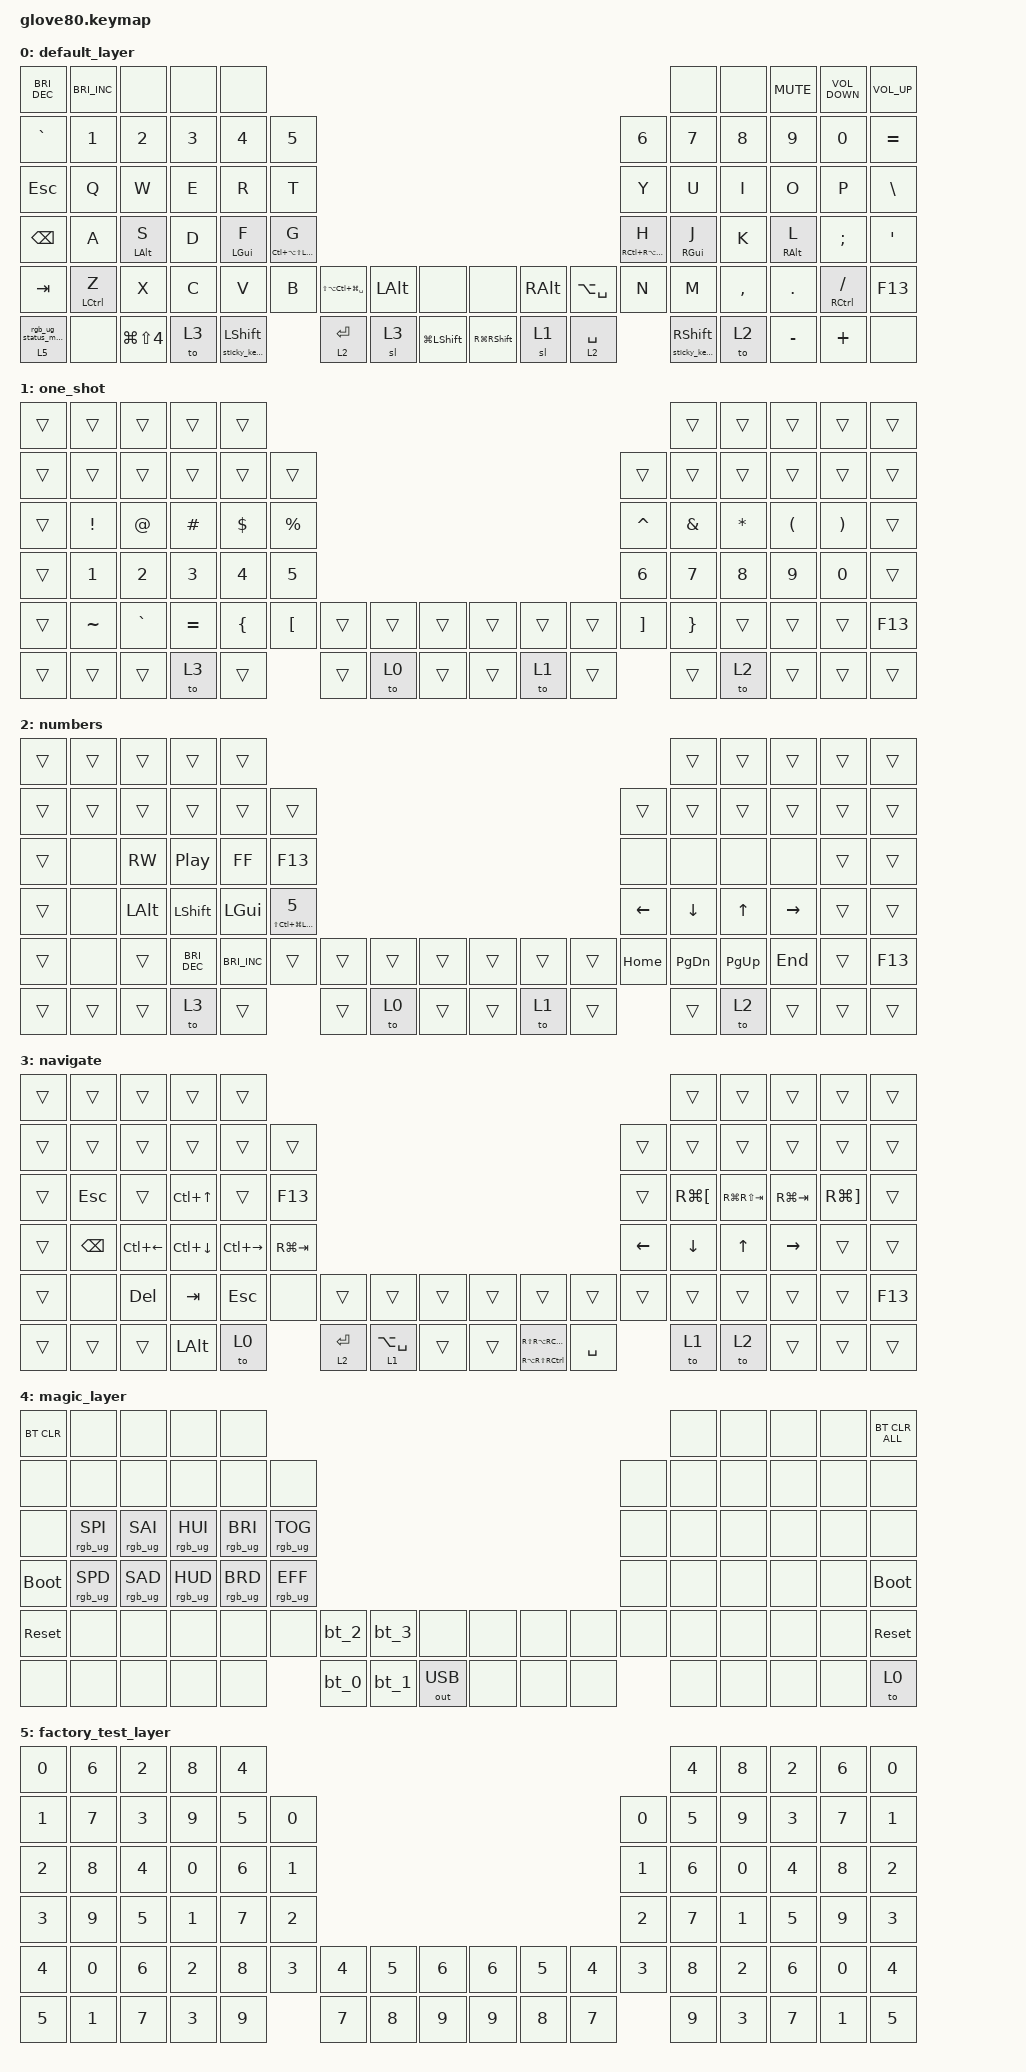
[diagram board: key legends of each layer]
/*
 * Copyright (c) 2020 The ZMK Contributors
 *
 * SPDX-License-Identifier: MIT
 */

#include <behaviors.dtsi>
#include <dt-bindings/zmk/bt.h>
#include <dt-bindings/zmk/keys.h>
#include <dt-bindings/zmk/outputs.h>
#include <dt-bindings/zmk/rgb.h>

#define HYPER LC(LS(LG(LALT)))

// layers

#define DEFAULT 0
#define LOWER 1
#define MAGIC 2
#define FACTORY_TEST 3

/ {
    behaviors {
        // For the "layer" key, it'd nice to be able to use it as either a shift or a toggle.
        // Configure it as a tap dance, so the first tap (or hold) is a &mo and the second tap is a &to

        layer_td: tap_dance_0 {
            compatible = "zmk,behavior-tap-dance";
            label = "LAYER_TAP_DANCE";
            #binding-cells = <0>;
            tapping-term-ms = <200>;
            bindings = <&mo 1>, <&to 1>;
        };

        magic: magic_hold_tap {
            compatible = "zmk,behavior-hold-tap";
            label = "MAGIC_HOLD_TAP";
            #binding-cells = <2>;
            flavor = "tap-preferred";
            tapping-term-ms = <200>;
            bindings = <&mo>, <&rgb_ug_status_macro>;
        };

        hm_right_index: hm_right_index {
            compatible = "zmk,behavior-hold-tap";
            label = "HM_RIGHT_INDEX";
            bindings = <&kp>, <&kp>;

            #binding-cells = <2>;
            tapping-term-ms = <300>;
            quick-tap-ms = <300>;
            require-prior-idle-ms = <100>;
            flavor = "tap-preferred";
            hold-trigger-key-positions = <0 1 2 3 4 10 11 12 13 14 15 22 23 24 25 26 27 34 35 36 37 38 39 46 47 48 49 50 51 52 53 54 64 65 66 67 68 69 70 71 55 56 57 72 73 74>;
            hold-trigger-on-release;
        };

        hm_left_index: hm_left_index {
            compatible = "zmk,behavior-hold-tap";
            label = "HM_LEFT_INDEX";
            bindings = <&kp>, <&kp>;

            #binding-cells = <2>;
            tapping-term-ms = <300>;
            quick-tap-ms = <300>;
            require-prior-idle-ms = <100>;
            flavor = "tap-preferred";
            hold-trigger-key-positions = <5 6 7 8 9 16 17 18 19 20 21 28 29 30 31 32 33 40 41 42 43 44 45 55 56 57 58 59 60 61 62 63 72 73 74 75 76 77 78 79 52 53 54 69 70 71>;
            hold-trigger-on-release;
        };

        hm_right_middle: hm_right_middle {
            compatible = "zmk,behavior-hold-tap";
            label = "HM_RIGHT_MIDDLE";
            bindings = <&kp>, <&kp>;

            #binding-cells = <2>;
            tapping-term-ms = <210>;
            quick-tap-ms = <300>;
            require-prior-idle-ms = <150>;
            flavor = "tap-preferred";
            hold-trigger-key-positions = <0 1 2 3 4 10 11 12 13 14 15 22 23 24 25 26 27 34 35 36 37 38 39 46 47 48 49 50 51 52 53 54 64 65 66 67 68 69 70 71 55 56 57 72 73 55 56 57 72 73 74>;
            hold-trigger-on-release;
        };

        hm_left_middle: hm_left_middle {
            compatible = "zmk,behavior-hold-tap";
            label = "HM_LEFT_MIDDLE";
            bindings = <&kp>, <&kp>;

            #binding-cells = <2>;
            tapping-term-ms = <210>;
            quick-tap-ms = <300>;
            require-prior-idle-ms = <150>;
            flavor = "tap-preferred";
            hold-trigger-key-positions = <5 6 7 8 9 16 17 18 19 20 21 28 29 30 31 32 33 40 41 42 43 44 45 55 56 57 58 59 60 61 62 63 72 73 74 75 76 77 78 79 52 53 54 69 70 71>;
            hold-trigger-on-release;
        };

        hm_right_ring: hm_right_ring {
            compatible = "zmk,behavior-hold-tap";
            label = "HM_RIGHT_RING";
            bindings = <&kp>, <&kp>;

            #binding-cells = <2>;
            tapping-term-ms = <400>;
            quick-tap-ms = <300>;
            require-prior-idle-ms = <150>;
            flavor = "tap-preferred";
            hold-trigger-key-positions = <0 1 2 3 4 10 11 12 13 14 15 22 23 24 25 26 27 34 35 36 37 38 39 46 47 48 49 50 51 52 53 54 64 65 66 67 68 69 70 71 55 56 57 72 73 74>;
            hold-trigger-on-release;
        };

        hm_left_ring: hm_left_ring {
            compatible = "zmk,behavior-hold-tap";
            label = "HM_LEFT_RING";
            bindings = <&kp>, <&kp>;

            #binding-cells = <2>;
            tapping-term-ms = <400>;
            quick-tap-ms = <300>;
            require-prior-idle-ms = <150>;
            flavor = "tap-preferred";
            hold-trigger-key-positions = <5 6 7 8 9 16 17 18 19 20 21 28 29 30 31 32 33 40 41 42 43 44 45 55 56 57 58 59 60 61 62 63 72 73 74 75 76 77 78 79 52 53 54 69 70 71>;
            hold-trigger-on-release;
        };

        hm_right_pinky: hm_right_pinky {
            compatible = "zmk,behavior-hold-tap";
            label = "HM_RIGHT_PINKY";
            bindings = <&kp>, <&kp>;

            #binding-cells = <2>;
            tapping-term-ms = <260>;
            quick-tap-ms = <300>;
            require-prior-idle-ms = <150>;
            flavor = "tap-preferred";
            hold-trigger-key-positions = <0 1 2 3 4 10 11 12 13 14 15 22 23 24 25 26 27 34 35 36 37 38 39 46 47 48 49 50 51 52 53 54 64 65 66 67 68 69 70 71 55 56 57 72 73 74>;
            hold-trigger-on-release;
        };

        hm_left_pinky: hm_left_pinky {
            compatible = "zmk,behavior-hold-tap";
            label = "HM_LEFT_PINKY";
            bindings = <&kp>, <&kp>;

            #binding-cells = <2>;
            tapping-term-ms = <260>;
            quick-tap-ms = <300>;
            require-prior-idle-ms = <150>;
            flavor = "tap-preferred";
            hold-trigger-key-positions = <5 6 7 8 9 16 17 18 19 20 21 28 29 30 31 32 33 40 41 42 43 44 45 55 56 57 58 59 60 61 62 63 72 73 74 75 76 77 78 79 52 53 54 69 70 71>;
            hold-trigger-on-release;
        };

        hyper_right: hyper_right {
            compatible = "zmk,behavior-hold-tap";
            label = "HYPER_RIGHT";
            bindings = <&kp>, <&kp>;

            #binding-cells = <2>;
            tapping-term-ms = <200>;
            quick-tap-ms = <300>;
            require-prior-idle-ms = <100>;
            flavor = "tap-preferred";
            hold-trigger-key-positions = <0 1 2 3 4 10 11 12 13 14 15 22 23 24 25 26 27 34 35 36 37 38 39 46 47 48 49 50 51 52 53 54 55 56 64 65 66 67 68 69 70 71 72 55 56 57 72 73 74>;
            hold-trigger-on-release;
        };

        hyper_left: hyper_left {
            compatible = "zmk,behavior-hold-tap";
            label = "HYPER_LEFT";
            bindings = <&kp>, <&kp>;

            #binding-cells = <2>;
            tapping-term-ms = <200>;
            quick-tap-ms = <300>;
            require-prior-idle-ms = <100>;
            flavor = "tap-preferred";
            hold-trigger-on-release;
            hold-trigger-key-positions = <0 1 2 3 4 10 11 12 13 14 15 22 23 24 25 26 27 34 35 36 37 38 39 46 47 48 49 50 51 52 53 54 55 56 64 65 66 67 68 69 70 71 72 55 56 57 72 73 74>;
        };

        layer_on_hold: layer_on_hold {
            compatible = "zmk,behavior-hold-tap";
            label = "LAYER_ON_HOLD";
            bindings = <&sl>, <&kp>;

            #binding-cells = <2>;
            tapping-term-ms = <200>;
            quick-tap-ms = <300>;
            require-prior-idle-ms = <150>;
            flavor = "tap-preferred";
            hold-trigger-on-release;
            hold-trigger-key-positions = <5 6 7 8 9 16 17 18 19 20 21 28 29 30 31 32 33 40 41 42 43 44 45 55 56 57 58 59 60 61 62 63 72 73 74 75 76 77 78 79 52 53 54 69 70 71>;
        };

        enter_or_capsword: enter_or_capsword {
            compatible = "zmk,behavior-mod-morph";
            label = "ENTER_OR_CAPSWORD";
            bindings = <&kp ENTER>, <&caps_word>;

            #binding-cells = <0>;
            mods = <(MOD_LSFT|MOD_RSFT)>;
        };

        backspace_or_delete: backspace_or_delete {
            compatible = "zmk,behavior-mod-morph";
            label = "BACKSPACE_OR_DELETE";
            bindings = <&kp BACKSPACE>, <&kp DELETE>;

            #binding-cells = <0>;
            mods = <(MOD_RSFT)>;
        };

        sticky_key_quick_release: sticky_key_quick_release {
            compatible = "zmk,behavior-sticky-key";
            label = "STICKY_KEY_QUICK_RELEASE";
            bindings = <&sk>;
            #binding-cells = <1>;
            quick-release;
            release-after-ms = <100>;
            ignore-modifiers;
        };
    };

    macros {
        rgb_ug_status_macro: rgb_ug_status_macro_0 {
            label = "RGB_UG_STATUS";
            compatible = "zmk,behavior-macro";
            #binding-cells = <0>;
            bindings = <&rgb_ug RGB_STATUS>;
        };

        bt_0: bt_profile_macro_0 {
            label = "BT_0";
            compatible = "zmk,behavior-macro";
            #binding-cells = <0>;
            bindings = <&out OUT_BLE &bt BT_SEL 0>;
        };

        bt_1: bt_profile_macro_1 {
            label = "BT_1";
            compatible = "zmk,behavior-macro";
            #binding-cells = <0>;
            bindings = <&out OUT_BLE &bt BT_SEL 1>;
        };

        bt_2: bt_profile_macro_2 {
            label = "BT_2";
            compatible = "zmk,behavior-macro";
            #binding-cells = <0>;
            bindings = <&out OUT_BLE &bt BT_SEL 2>;
        };

        bt_3: bt_profile_macro_3 {
            label = "BT_3";
            compatible = "zmk,behavior-macro";
            #binding-cells = <0>;
            bindings = <&out OUT_BLE &bt BT_SEL 3>;
        };
    };

    combos {
        compatible = "zmk,combos";

        combo_copy {
            bindings = <&kp LG(C)>;
            key-positions = <49 50>;
            layers = <0>;
        };

        combo_paste {
            bindings = <&kp LG(V)>;
            key-positions = <51 50>;
            layers = <0>;
        };

        combo_undo {
            bindings = <&kp LG(Z)>;
            key-positions = <47 48>;
            layers = <0>;
        };

        combo_cut {
            bindings = <&kp LG(X)>;
            key-positions = <48 49>;
            layers = <0>;
        };

        combo_left_shift {
            bindings = <&sticky_key_quick_release LEFT_SHIFT>;
            key-positions = <36 37>;
            layers = <0 2 1 3>;
        };

        combo_right_shift {
            bindings = <&sticky_key_quick_release RIGHT_SHIFT>;
            key-positions = <42 43>;
            layers = <0 2 1 3>;
        };

        combo_hyphen {
            bindings = <&kp MINUS>;
            key-positions = <60 61>;
            layers = <0>;
        };

        combo_equals {
            bindings = <&kp EQUAL>;
            key-positions = <28 29>;
            layers = <0>;
        };
    };

    keymap {
        compatible = "zmk,keymap";

        default_layer {
            // ---------------------------------------------------------------------------------------------------------------------------------
            // |  F1   |  F2 |  F3 |  F4  |  F5  |                                                               |  F6   |  F7   |  F8  |   F9  |  F10 |
            // |  =    |  1  |  2  |  3   |  4   |  5   |                                                 |  6   |   7   |   8   |  9   |   0   |   -  |
            // |  TAB  |  Q  |  W  |  E   |  R   |  T   |                                                 |  Y   |   U   |   I   |  O   |   P   |   \  |
            // |  ESC  |  A  |  S  |  D   |  F   |  G   |                                                 |  H   |   J   |   K   |  L   |   ;   |   '  |
            // |   `   |  Z  |  X  |  C   |  V   |  B   | LSHFT | LCTRL | LOWER | | LGUI  | RCTRL | RSHFT |  N   |   M   |   ,   |  .   |   /   | PGUP |
            // | MAGIC | HOME| END | LEFT | RIGHT|      | BSPC  | DEL   | LALT  | | RALT  | RET   | SPACE |      |  UP   | DOWN  |  [   |   ]   | PGDN |

            bindings = <
&kp C_BRIGHTNESS_DEC  &kp C_BRIGHTNESS_INC           &none                     &none         &none                                                                                                                                                                                                                                    &none                                  &none         &kp C_MUTE                  &kp C_VOLUME_DOWN                   &kp C_VOLUME_UP
&kp GRAVE             &kp NUMBER_1                   &kp NUMBER_2              &kp NUMBER_3  &kp NUMBER_4                          &kp NUMBER_5                                                                                                                                                 &kp NUMBER_6                          &kp NUMBER_7                           &kp NUMBER_8  &kp NUMBER_9                &kp NUMBER_0                        &kp EQUAL
&kp ESC               &kp Q                          &kp W                     &kp E         &kp R                                 &kp T                                                                                                                                                        &kp Y                                 &kp U                                  &kp I         &kp O                       &kp P                               &kp BACKSLASH
&kp BACKSPACE         &kp A                          &hm_left_ring LEFT_ALT S  &kp D         &hm_left_index LGUI F                 &hyper_left LC(LA(LS(LEFT_GUI))) G                                                                                                                           &hyper_right RC(RA(RS(RIGHT_GUI))) H  &hm_right_index RIGHT_GUI J            &kp K         &hm_right_ring RIGHT_ALT L  &kp SEMICOLON                       &kp APOSTROPHE
&kp TAB               &hm_left_pinky LEFT_CONTROL Z  &kp X                     &kp C         &kp V                                 &kp B                               &kp LS(LA(LC(LG(SPACE))))  &kp LEFT_ALT  &none               &none                &kp RIGHT_ALT  &kp LA(SPACE)           &kp N                                 &kp M                                  &kp COMMA     &kp DOT                     &hm_right_pinky RIGHT_CONTROL FSLH  &kp F13
&magic 5 0            &none                          &kp LG(LS(NUMBER_4))      &to 3         &sticky_key_quick_release LEFT_SHIFT                                      &layer_on_hold 2 ENTER     &sl 3         &kp LG(LEFT_SHIFT)  &kp RG(RIGHT_SHIFT)  &sl 1          &layer_on_hold 2 SPACE                                        &sticky_key_quick_release RIGHT_SHIFT  &to 2         &kp MINUS                   &kp PLUS                            &none
            >;
        };

        one_shot {
            bindings = <
&trans  &trans           &trans        &trans        &trans                                                                                               &trans           &trans        &trans                &trans                 &trans
&trans  &trans           &trans        &trans        &trans          &trans                                                            &trans             &trans           &trans        &trans                &trans                 &trans
&trans  &kp EXCLAMATION  &kp AT_SIGN   &kp HASH      &kp DOLLAR      &kp PERCENT                                                       &kp CARET          &kp AMPERSAND    &kp ASTERISK  &kp LEFT_PARENTHESIS  &kp RIGHT_PARENTHESIS  &trans
&trans  &kp NUMBER_1     &kp NUMBER_2  &kp NUMBER_3  &kp NUMBER_4    &kp NUMBER_5                                                      &kp NUMBER_6       &kp NUMBER_7     &kp NUMBER_8  &kp NUMBER_9          &kp NUMBER_0           &trans
&trans  &kp TILDE        &kp GRAVE     &kp EQUAL     &kp LEFT_BRACE  &kp LEFT_BRACKET  &trans  &trans  &trans  &trans  &trans  &trans  &kp RIGHT_BRACKET  &kp RIGHT_BRACE  &trans        &trans                &trans                 &kp F13
&trans  &trans           &trans        &to 3         &trans                            &trans  &to 0   &trans  &trans  &to 1   &trans                     &trans           &to 2         &trans                &trans                 &trans
            >;
        };

        numbers {
            bindings = <
&trans  &trans  &trans        &trans            &trans                                                                                                              &trans          &trans        &trans           &trans  &trans
&trans  &trans  &trans        &trans            &trans         &trans                                                                               &trans          &trans          &trans        &trans           &trans  &trans
&trans  &none   &kp C_RW      &kp C_PLAY_PAUSE  &kp C_FF       &kp F13                                                                              &none           &none           &none         &none            &trans  &trans
&trans  &none   &kp LEFT_ALT  &kp LEFT_SHIFT    &kp LEFT_GUI   &hyper_left LS(LC(LG(LEFT_ALT))) N5                                                  &kp LEFT_ARROW  &kp DOWN_ARROW  &kp UP_ARROW  &kp RIGHT_ARROW  &trans  &trans
&trans  &none   &trans        &kp C_BRI_DEC     &kp C_BRI_INC  &trans                               &trans  &trans  &trans  &trans  &trans  &trans  &kp HOME        &kp PAGE_DOWN   &kp PAGE_UP   &kp END          &trans  &kp F13
&trans  &trans  &trans        &to 3             &trans                                              &trans  &to 0   &trans  &trans  &to 1   &trans                  &trans          &to 2         &trans           &trans  &trans
            >;
        };

        navigate {
            bindings = <
&trans  &trans         &trans        &trans            &trans                                                                                                                                                        &trans                &trans           &trans       &trans                 &trans
&trans  &trans         &trans        &trans            &trans         &trans                                                                                                                               &trans    &trans                &trans           &trans       &trans                 &trans
&trans  &kp ESC        &trans        &kp LC(UP_ARROW)  &trans         &kp F13                                                                                                                              &trans    &kp RG(LEFT_BRACKET)  &kp RG(RS(TAB))  &kp RG(TAB)  &kp RG(RIGHT_BRACKET)  &trans
&trans  &kp BACKSPACE  &kp LC(LEFT)  &kp LC(DOWN)      &kp LC(RIGHT)  &kp RG(TAB)                                                                                                                          &kp LEFT  &kp DOWN              &kp UP_ARROW     &kp RIGHT    &trans                 &trans
&trans  &none          &kp DEL       &kp TAB           &kp ESC        &none        &trans                  &trans                      &trans  &trans  &trans                                   &trans     &trans    &trans                &trans           &trans       &trans                 &kp F13
&trans  &trans         &trans        &kp LEFT_ALT      &to 0                       &layer_on_hold 2 ENTER  &layer_on_hold 1 LA(SPACE)  &trans  &trans  &mt RA(RS(RCTRL)) RS(RA(RC(RG(SPACE))))  &kp SPACE            &to 1                 &to 2            &trans       &trans                 &trans
            >;
        };

        magic_layer {
            bindings = <
&bt BT_CLR   &none            &none            &none            &none                                                                                     &none  &none  &none  &none  &bt BT_CLR_ALL
&none        &none            &none            &none            &none            &none                                                             &none  &none  &none  &none  &none  &none
&none        &rgb_ug RGB_SPI  &rgb_ug RGB_SAI  &rgb_ug RGB_HUI  &rgb_ug RGB_BRI  &rgb_ug RGB_TOG                                                   &none  &none  &none  &none  &none  &none
&bootloader  &rgb_ug RGB_SPD  &rgb_ug RGB_SAD  &rgb_ug RGB_HUD  &rgb_ug RGB_BRD  &rgb_ug RGB_EFF                                                   &none  &none  &none  &none  &none  &bootloader
&sys_reset   &none            &none            &none            &none            &none            &bt_2  &bt_3  &none         &none  &none  &none  &none  &none  &none  &none  &none  &sys_reset
&none        &none            &none            &none            &none                             &bt_0  &bt_1  &out OUT_USB  &none  &none  &none         &none  &none  &none  &none  &to 0
            >;
        };

        factory_test_layer {
            bindings = <
&kp N0  &kp N6  &kp N2  &kp N8  &kp N4                                                                  &kp N4  &kp N8  &kp N2  &kp N6  &kp N0
&kp N1  &kp N7  &kp N3  &kp N9  &kp N5  &kp N0                                                  &kp N0  &kp N5  &kp N9  &kp N3  &kp N7  &kp N1
&kp N2  &kp N8  &kp N4  &kp N0  &kp N6  &kp N1                                                  &kp N1  &kp N6  &kp N0  &kp N4  &kp N8  &kp N2
&kp N3  &kp N9  &kp N5  &kp N1  &kp N7  &kp N2                                                  &kp N2  &kp N7  &kp N1  &kp N5  &kp N9  &kp N3
&kp N4  &kp N0  &kp N6  &kp N2  &kp N8  &kp N3  &kp N4  &kp N5  &kp N6  &kp N6  &kp N5  &kp N4  &kp N3  &kp N8  &kp N2  &kp N6  &kp N0  &kp N4
&kp N5  &kp N1  &kp N7  &kp N3  &kp N9          &kp N7  &kp N8  &kp N9  &kp N9  &kp N8  &kp N7          &kp N9  &kp N3  &kp N7  &kp N1  &kp N5
            >;
        };
    };
};
